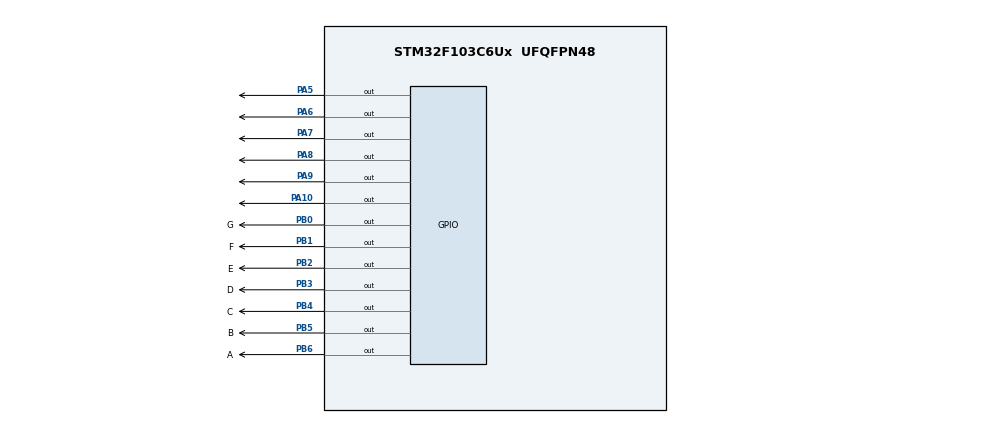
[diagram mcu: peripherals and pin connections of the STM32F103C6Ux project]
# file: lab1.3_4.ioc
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Mcu.Family=STM32F1
Mcu.Name=STM32F103C6Ux
Mcu.Package=UFQFPN48
NVIC.PriorityGroup=NVIC_PRIORITYGROUP_4
PA10.Signal=GPIO_Output
PA5.Signal=GPIO_Output
PA6.Signal=GPIO_Output
PA7.Signal=GPIO_Output
PA8.Signal=GPIO_Output
PA9.Signal=GPIO_Output
PB0.GPIO_Label=G
PB0.Signal=GPIO_Output
PB1.GPIO_Label=F
PB1.Signal=GPIO_Output
PB2.GPIO_Label=E
PB2.Signal=GPIO_Output
PB3.GPIO_Label=D
PB3.Signal=GPIO_Output
PB4.GPIO_Label=C
PB4.Signal=GPIO_Output
PB5.GPIO_Label=B
PB5.Signal=GPIO_Output
PB6.GPIO_Label=A
PB6.Signal=GPIO_Output
ProjectManager.HeapSize=0x200
ProjectManager.StackSize=0x400
ProjectManager.TargetToolchain=STM32CubeIDE
RCC.APB1Freq_Value=8000000
RCC.APB2Freq_Value=8000000
VP_SYS_VS_ND.Mode=No_Debug
board=custom

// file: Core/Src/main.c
/* USER CODE BEGIN Header */
/**
  ******************************************************************************
  * @file           : main.c
  * @brief          : Main program body
  ******************************************************************************
  * @attention
  *
  * <h2><center>&copy; Copyright (c) 2022 STMicroelectronics.
  * All rights reserved.</center></h2>
  *
  * This software component is licensed by ST under BSD 3-Clause license,
  * the "License"; You may not use this file except in compliance with the
  * License. You may obtain a copy of the License at:
  *                        opensource.org/licenses/BSD-3-Clause
  *
  ******************************************************************************
  */
/* USER CODE END Header */
#include "main.h"

/* USER CODE BEGIN Includes */
#include "display.h"
/* USER CODE END Includes */

void SystemClock_Config(void);
static void MX_GPIO_Init(void);

int main(void)
{

  /* MCU Configuration--------------------------------------------------------*/

  /* Reset of all peripherals, Initializes the Flash interface and the Systick. */
  HAL_Init();

  /* Configure the system clock */
  SystemClock_Config();

  /* Initialize all configured peripherals */
  MX_GPIO_Init();

  /* Infinite loop */
  /* USER CODE BEGIN WHILE */
  int time_red_x = 10;
      int time_yellow_x = 8;
      int time_green_x = 5;
      int time_red_y = 5;
      int time_yellow_y = 3;
      int time_green_y = 10;
      int counter = 3;
      HAL_GPIO_WritePin ( GPIOA , GPIO_PIN_5 ,0 ) ;
      HAL_GPIO_WritePin ( GPIOA , GPIO_PIN_6 ,1 ) ;
      HAL_GPIO_WritePin ( GPIOA , GPIO_PIN_7 ,1 ) ;
      HAL_GPIO_WritePin ( GPIOA , GPIO_PIN_8 ,1 ) ;
      HAL_GPIO_WritePin ( GPIOA , GPIO_PIN_9 ,1 ) ;
      HAL_GPIO_WritePin ( GPIOA , GPIO_PIN_10 ,0 ) ;
      while (1)
      {

    	  if(time_red_x == 0){
    	  		  	 HAL_GPIO_TogglePin (GPIOA , GPIO_PIN_6) ;  /* tat den vang */
    	  	  		 HAL_GPIO_TogglePin (GPIOA , GPIO_PIN_5) ;  /* bat den do */
    	  	  		 time_red_x = 10;
    	  	  	  }
    	  if(time_yellow_x == 0){
    	  		  	 HAL_GPIO_TogglePin (GPIOA , GPIO_PIN_7) ; /* tat den xanh */
    	  	  		 HAL_GPIO_TogglePin (GPIOA , GPIO_PIN_6) ; /* bat den vang */
    	  	  		 time_yellow_x = 10;
    	  	  	  }
    	  if(time_green_x == 0){
    	  		  	 HAL_GPIO_TogglePin (GPIOA , GPIO_PIN_5) ; /* tat den do*/
    	  		  	 HAL_GPIO_TogglePin (GPIOA , GPIO_PIN_7) ; /* bat den xanh */
    	  		  	 time_green_x = 10;
    	  	  	  }
    	  if(time_red_y == 0){
    	  		  	 HAL_GPIO_TogglePin (GPIOA , GPIO_PIN_9) ;
    	  	  		 HAL_GPIO_TogglePin (GPIOA , GPIO_PIN_8) ;
    	  	  		 time_red_y = 10;
    	  	  		 counter = 5;
    	  	  	  }
    	  if(time_yellow_y == 0){
    	  		  	 HAL_GPIO_TogglePin (GPIOA , GPIO_PIN_10) ;
    	  	  		 HAL_GPIO_TogglePin (GPIOA , GPIO_PIN_9) ;
    	  	  		 time_yellow_y = 10;
    	  	  		 counter =2;
    	  	  	  }
    	  if(time_green_y == 0){
    	  		  	 HAL_GPIO_TogglePin (GPIOA , GPIO_PIN_8) ;
    	  		  	 HAL_GPIO_TogglePin (GPIOA , GPIO_PIN_10) ;
    	  		  	 time_green_y = 10;
    	  		  	 counter =3;
    	  	  	  }
    	  time_red_x--;
    	  time_yellow_x --;
    	  time_green_x --;
    	  time_red_y--;
    	  time_yellow_y --;
    	  time_green_y --;

  // ############################
    	if( counter < 0) counter = 9;
    	    	  	display7SEG ( counter --) ;

    	  HAL_Delay (1000) ;
    /* USER CODE END WHILE */

  }
}

void SystemClock_Config(void)
{
  RCC_OscInitTypeDef RCC_OscInitStruct = {0};
  RCC_ClkInitTypeDef RCC_ClkInitStruct = {0};

  /** Initializes the RCC Oscillators according to the specified parameters
  * in the RCC_OscInitTypeDef structure.
  */
  RCC_OscInitStruct.OscillatorType = RCC_OSCILLATORTYPE_HSI;
  RCC_OscInitStruct.HSIState = RCC_HSI_ON;
  RCC_OscInitStruct.HSICalibrationValue = RCC_HSICALIBRATION_DEFAULT;
  RCC_OscInitStruct.PLL.PLLState = RCC_PLL_NONE;
  if (HAL_RCC_OscConfig(&RCC_OscInitStruct) != HAL_OK)
  {
    Error_Handler();
  }
  /** Initializes the CPU, AHB and APB buses clocks
  */
  RCC_ClkInitStruct.ClockType = RCC_CLOCKTYPE_HCLK|RCC_CLOCKTYPE_SYSCLK
                              |RCC_CLOCKTYPE_PCLK1|RCC_CLOCKTYPE_PCLK2;
  RCC_ClkInitStruct.SYSCLKSource = RCC_SYSCLKSOURCE_HSI;
  RCC_ClkInitStruct.AHBCLKDivider = RCC_SYSCLK_DIV1;
  RCC_ClkInitStruct.APB1CLKDivider = RCC_HCLK_DIV1;
  RCC_ClkInitStruct.APB2CLKDivider = RCC_HCLK_DIV1;

  if (HAL_RCC_ClockConfig(&RCC_ClkInitStruct, FLASH_LATENCY_0) != HAL_OK)
  {
    Error_Handler();
  }
}

static void MX_GPIO_Init(void)
{
  GPIO_InitTypeDef GPIO_InitStruct = {0};

  /* GPIO Ports Clock Enable */
  __HAL_RCC_GPIOA_CLK_ENABLE();
  __HAL_RCC_GPIOB_CLK_ENABLE();

  /*Configure GPIO pin Output Level */
  HAL_GPIO_WritePin(GPIOA, GPIO_PIN_5|GPIO_PIN_6|GPIO_PIN_7|GPIO_PIN_8
                          |GPIO_PIN_9|GPIO_PIN_10, GPIO_PIN_RESET);

  /*Configure GPIO pin Output Level */
  HAL_GPIO_WritePin(GPIOB, G_Pin|F_Pin|E_Pin|D_Pin
                          |C_Pin|B_Pin|A_Pin, GPIO_PIN_RESET);

  /*Configure GPIO pins : PA5 PA6 PA7 PA8
                           PA9 PA10 */
  GPIO_InitStruct.Pin = GPIO_PIN_5|GPIO_PIN_6|GPIO_PIN_7|GPIO_PIN_8
                          |GPIO_PIN_9|GPIO_PIN_10;
  GPIO_InitStruct.Mode = GPIO_MODE_OUTPUT_PP;
  GPIO_InitStruct.Pull = GPIO_NOPULL;
  GPIO_InitStruct.Speed = GPIO_SPEED_FREQ_LOW;
  HAL_GPIO_Init(GPIOA, &GPIO_InitStruct);

  /*Configure GPIO pins : G_Pin F_Pin E_Pin D_Pin
                           C_Pin B_Pin A_Pin */
  GPIO_InitStruct.Pin = G_Pin|F_Pin|E_Pin|D_Pin
                          |C_Pin|B_Pin|A_Pin;
  GPIO_InitStruct.Mode = GPIO_MODE_OUTPUT_PP;
  GPIO_InitStruct.Pull = GPIO_NOPULL;
  GPIO_InitStruct.Speed = GPIO_SPEED_FREQ_LOW;
  HAL_GPIO_Init(GPIOB, &GPIO_InitStruct);

}

void Error_Handler(void)
{
  __disable_irq();
  while (1)
  {
  }
}

/************************ (C) COPYRIGHT STMicroelectronics *****END OF FILE****/
